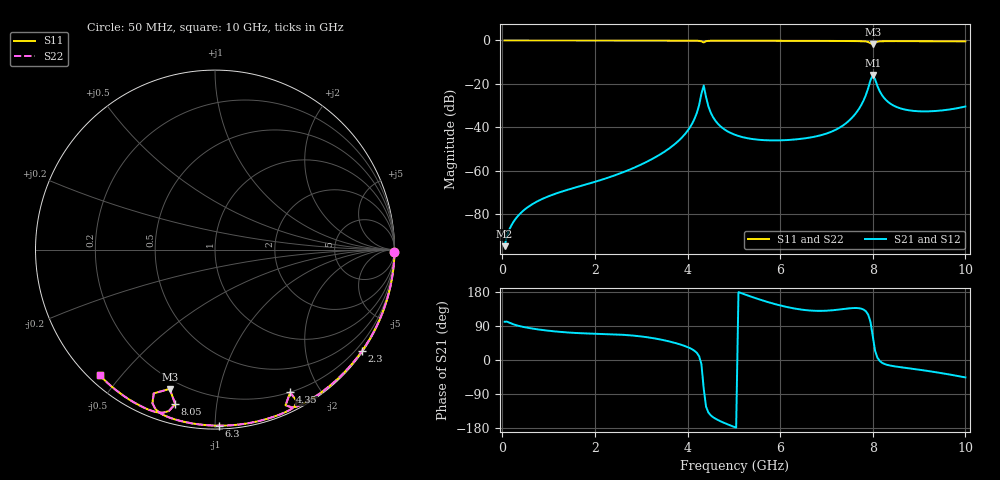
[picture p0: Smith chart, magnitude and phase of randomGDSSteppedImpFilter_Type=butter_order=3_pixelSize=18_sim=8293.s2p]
! freq	dB(S11)	phase(S11)	dB(S12)	phase(S12)
!  dB(S21)	phase(S21)	dB(S22)	phase(S22)
!S-par simulation data
#  GHz  S  DB  R 50
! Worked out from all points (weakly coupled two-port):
!   200 points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, 50 MHz to 10 GHz, reference 50 ohm
!   highest |S21| = -15.93 dB at 8 GHz (marker M1); lowest = -94.6 dB at 50 MHz (marker M2)
!   lowest |S11| = -1.8 dB at 8 GHz (marker M3), VSWR 9.87, Z = 7.7 - j35.8 ohm
!   |S11| at or under -10 dB: nowhere
!   |S22| runs from -1.8 to 0.0 dB; largest |S21 - S12| = 0
!   S11 on the Smith chart (normalised r, x): 50 MHz: open; 2.3 GHz: 0.03, -3.21; 4.35 GHz: 0.20, -1.64; 6.3 GHz: 0.02, -1.02; 8.05 GHz: 0.09, -0.77; 10 GHz: 0.03, -0.44
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0.05  -0.00 -0.8  -94.60 100.9  -94.60 100.9  -0.00 -0.8
0.35  -0.00 -5.4  -80.42 90.2  -80.42 90.2  -0.00 -5.4
0.9  -0.02 -13.7  -72.53 78.7  -72.53 78.7  -0.02 -13.7
1.75  -0.03 -26.4  -66.56 70.4  -66.56 70.4  -0.03 -26.4
2.3  -0.04 -34.6  -62.99 68.2  -62.99 68.2  -0.04 -34.6
3.4  -0.07 -50.5  -52.53 54.5  -52.53 54.5  -0.07 -50.5
4.05  -0.09 -60.0  -40.02 31.4  -40.02 31.4  -0.09 -60.0
4.2  -0.13 -62.7  -33.39 19.0  -33.39 19.0  -0.13 -62.7
4.35  -0.92 -62.2  -20.77 -76.1  -20.77 -76.1  -0.92 -62.2
4.45  -0.18 -63.1  -30.29 -138.4  -30.29 -138.4  -0.18 -63.1
4.55  -0.12 -65.2  -35.25 -150.8  -35.25 -150.8  -0.12 -65.2
5.05  -0.12 -72.5  -43.55 -178.6  -43.55 -178.6  -0.12 -72.5
6.3  -0.17 -88.8  -45.57 136.1  -45.57 136.1  -0.17 -88.8
6.7  -0.19 -93.9  -44.43 130.2  -44.43 130.2  -0.19 -93.9
7.55  -0.27 -105.1  -35.57 136.9  -35.57 136.9  -0.27 -105.1
7.8  -0.39 -109.4  -27.66 133.2  -27.66 133.2  -0.39 -109.4
8  -1.77 -108.0  -15.93 61.9  -15.93 61.9  -1.76 -108.0
8.05  -1.02 -104.4  -17.91 24.4  -17.91 24.4  -1.02 -104.4
8.2  -0.36 -108.9  -25.16 -7.3  -25.16 -7.3  -0.36 -108.9
8.35  -0.31 -111.7  -28.60 -14.0  -28.60 -14.0  -0.31 -111.7
9  -0.34 -120.4  -32.57 -25.5  -32.57 -25.5  -0.34 -120.4
10  -0.45 -132.5  -30.37 -46.0  -30.37 -46.0  -0.45 -132.5
